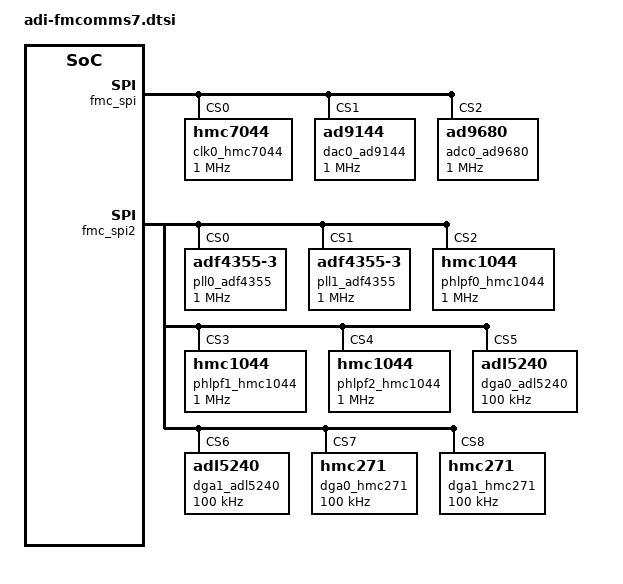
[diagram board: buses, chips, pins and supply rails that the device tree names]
/ {
	clocks {

	};
};

&fmc_spi {
	clk0_hmc7044: hmc7044@0 {
		#address-cells = <1>;
		#size-cells = <0>;
		#clock-cells = <1>;
		compatible = "hmc7044";
		reg = <0>;
		spi-cpol;
		spi-cpha;

		spi-max-frequency = <1000000>;
		clock-output-names = "clk-0", "clk-1", "clk-2", "clk-3", "clk-4", "clk-5", "clk-6", "clk-7", "clk-8", "clk-9", "clk-10", "clk-11", "clk-12", "clk-13";

	};

	dac0_ad9144: ad9144@1 {
		#address-cells = <1>;
		#size-cells = <0>;
		compatible = "ad9144";
		reg = <1>;
		spi-cpol;
		spi-cpha;
		spi-max-frequency = <1000000>;
		clocks = <&axi_ad9144_jesd>, <&clk0_hmc7044 10>, <&clk0_hmc7044 11>;
		clock-names = "jesd_dac_clk", "dac_clk", "dac_sysref";

		adi,jesd-xbar-lane0-sel = <2>;
		adi,jesd-xbar-lane1-sel = <3>;
		adi,jesd-xbar-lane2-sel = <0>;
		adi,jesd-xbar-lane3-sel = <1>;
	};

	adc0_ad9680: ad9680@2 {
		#address-cells = <1>;
		#size-cells = <0>;
		compatible = "ad9680";
		reg = <2>;
		spi-max-frequency = <1000000>;
		spi-cpol;
		spi-cpha;
		clocks = <&axi_ad9680_jesd>, <&clk0_hmc7044 6>, <&clk0_hmc7044 7>;
		clock-names = "jesd_adc_clk", "adc_clk", "adc_sysref";
	};
};

&fmc_spi2 {

	pll0_adf4355: adf4355_1_LO_TX@0 {
		compatible = "adf4355-3";
		reg = <0>;
		spi-max-frequency = <1000000>;
		clocks = <&clk0_hmc7044 2>;
		clock-names = "clkin";
		clock-output-names = "adf4355_1_out";
		//adi,reference-doubler-enable;
		adi,reference-div2-enable;
		//adi,phase-detector-polarity-negative-enable;
		adi,charge-pump-current = <900>;
		adi,muxout-select = <6>;
		adi,mute-till-lock-enable;
		adi,output-a-power = <2>;
		adi,output-b-power = <2>;
		adi,output-b-enable;
		adi,output-a-enable;
		adi,charge-pump-negative-bleed-enable;
		adi,reference-differential-input-enable;
		adi,muxout-level-3v3-enable;
		adi,power-up-frequency = <2400000000>;
	};

	pll1_adf4355: adf4355_2_LO_RX@1 {
		compatible = "adf4355-3";
		reg = <1>;
		spi-max-frequency = <1000000>;
		clocks = <&clk0_hmc7044 0>;
		clock-names = "clkin";
		clock-output-names = "adf4355_2_out";
		//adi,reference-doubler-enable;
		adi,reference-div2-enable;
		//adi,phase-detector-polarity-negative-enable;
		adi,charge-pump-current = <900>;
		adi,muxout-select = <6>;
		adi,mute-till-lock-enable;
		adi,output-a-power = <2>;
		adi,output-a-enable;
		adi,charge-pump-negative-bleed-enable;
		adi,reference-differential-input-enable;
		adi,muxout-level-3v3-enable;
		adi,power-up-frequency = <2400000000>;
	};

	phlpf0_hmc1044: hmc1044_1_TX1@2 {
		#address-cells = <1>;
		#size-cells = <0>;
		compatible = "hmc1044";
		reg = <2>;
		spi-max-frequency = <1000000>;
		adi,default-cutoff-frequency-mhz = <3400>;
	};

	phlpf1_hmc1044: hmc1044_2_TX2@3 {
		#address-cells = <1>;
		#size-cells = <0>;
		compatible = "hmc1044";
		reg = <3>;
		spi-max-frequency = <1000000>;
		adi,default-cutoff-frequency-mhz = <3400>;
	};

	phlpf2_hmc1044: hmc1044_3_RX@4 {
		#address-cells = <1>;
		#size-cells = <0>;
		compatible = "hmc1044";
		reg = <4>;
		spi-max-frequency = <1000000>;
		adi,default-cutoff-frequency-mhz = <3400>;
	};

	dga0_adl5240: adl5240_1_TX1@5 {
		#address-cells = <1>;
		#size-cells = <0>;
		compatible = "adl5240";
		reg = <5>;
		spi-max-frequency = <100000>;
	};

	dga1_adl5240: adl5240_1_TX2@6 {
		#address-cells = <1>;
		#size-cells = <0>;
		compatible = "adl5240";
		reg = <6>;
		spi-max-frequency = <100000>;
	};

	dga0_hmc271: hmc271_1_RX1@7 {
		#address-cells = <1>;
		#size-cells = <0>;
		compatible = "hmc271";
		reg = <7>;
		spi-max-frequency = <100000>;
	};

	dga1_hmc271: hmc271_2_RX2@8 {
		#address-cells = <1>;
		#size-cells = <0>;
		compatible = "hmc271";
		reg = <8>;
		spi-max-frequency = <100000>;
	};
};
